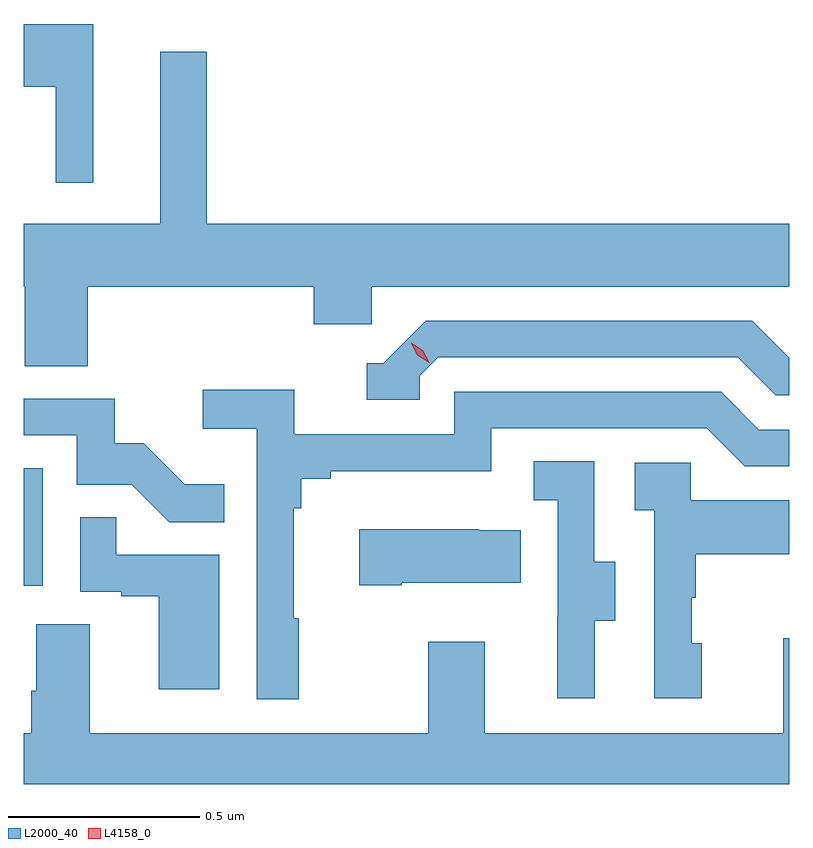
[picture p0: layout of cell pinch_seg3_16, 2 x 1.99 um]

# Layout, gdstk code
import gdstk
lib = gdstk.Library(unit=1e-6, precision=1e-09)
def R(c, l, rs):  # rectangles x0, y0, x1, y1
    for r in rs: c.add(gdstk.rectangle(r[:2], r[2:], *l))
def P(c, l, *ps):  # polygons
    for p in ps: c.add(gdstk.Polygon(p, *l))
L2000_40 = (2000, 40)
L4158_0 = (4158, 0)

pinch_seg3_16 = lib.new_cell('pinch_seg3_16')
R(pinch_seg3_16, L2000_40, [(1130.025,737.43,1130.074,737.737)])
P(pinch_seg3_16, L2000_40, [(1130.206,738.898),(1130.025,738.898),(1130.025,738.734),(1130.108,738.734),(1130.108,738.483),(1130.206,738.483)],
  [(1130.192,738.212),(1130.783,738.212),(1130.783,738.114),(1130.934,738.114),(1130.934,738.212),(1132.025,738.212),(1132.025,738.376),(1130.503,738.376),(1130.503,738.826),(1130.381,738.826),(1130.381,738.376),(1130.025,738.376),(1130.025,738.212),(1130.027,738.212),(1130.027,738.004),(1130.192,738.004)],
  [(1131.06,737.979),(1131.108,738.027),(1131.891,738.027),(1131.99,737.928),(1132.025,737.928),(1132.025,738.026),(1131.928,738.123),(1131.075,738.123),(1130.964,738.012),(1130.921,738.012),(1130.921,737.916),(1131.06,737.916)],
  [(1130.743,737.345),(1130.731,737.345),(1130.731,737.633),(1130.75,737.633),(1130.75,737.71),(1130.827,737.71),(1130.827,737.729),(1131.246,737.729),(1131.246,737.841),(1131.81,737.841),(1131.909,737.742),(1132.025,737.742),(1132.025,737.838),(1131.946,737.838),(1131.847,737.937),(1131.15,737.937),(1131.15,737.826),(1130.732,737.826),(1130.732,737.942),(1130.493,737.942),(1130.493,737.84),(1130.634,737.84),(1130.634,737.133),(1130.743,737.133)],
  [(1130.549,737.695),(1130.445,737.695),(1130.338,737.802),(1130.262,737.802),(1130.262,737.919),(1130.025,737.919),(1130.025,737.823),(1130.163,737.823),(1130.163,737.694),(1130.307,737.694),(1130.405,737.596),(1130.549,737.596)],
  [(1131.517,737.338),(1131.571,737.338),(1131.571,737.493),(1131.516,737.493),(1131.516,737.756),(1131.357,737.756),(1131.357,737.653),(1131.42,737.653),(1131.42,737.349),(1131.419,737.349),(1131.419,737.136),(1131.517,737.136)],
  [(1131.796,737.28),(1131.771,737.28),(1131.771,737.399),(1131.781,737.399),(1131.781,737.513),(1132.025,737.513),(1132.025,737.653),(1131.768,737.653),(1131.768,737.751),(1131.621,737.751),(1131.621,737.627),(1131.672,737.627),(1131.672,737.136),(1131.796,737.136)],
  [(1130.536,737.511),(1130.267,737.511),(1130.267,737.609),(1130.172,737.609),(1130.172,737.415),(1130.279,737.415),(1130.279,737.403),(1130.378,737.403),(1130.378,737.16),(1130.536,737.16)],
  [(1131.013,737.438),(1131.323,737.438),(1131.323,737.575),(1131.215,737.575),(1131.215,737.578),(1130.901,737.578),(1130.901,737.431),(1131.013,737.431)],
  [(1132.025,737.293),(1132.01,737.293),(1132.01,737.044),(1131.229,737.044),(1131.229,737.284),(1131.082,737.284),(1131.082,737.044),(1130.197,737.044),(1130.197,737.33),(1130.057,737.33),(1130.057,737.156),(1130.045,737.156),(1130.045,737.044),(1130.025,737.044),(1130.025,736.912),(1132.025,736.912)])
P(pinch_seg3_16, L4158_0, [(1131.084,738.013),(1131.053,738.032),(1131.037,738.065),(1131.037,738.065),(1131.037,738.065),(1131.068,738.046),(1131.085,738.014),(1131.085,738.013)])

lib.write_gds('pinch_seg3_16.gds')
